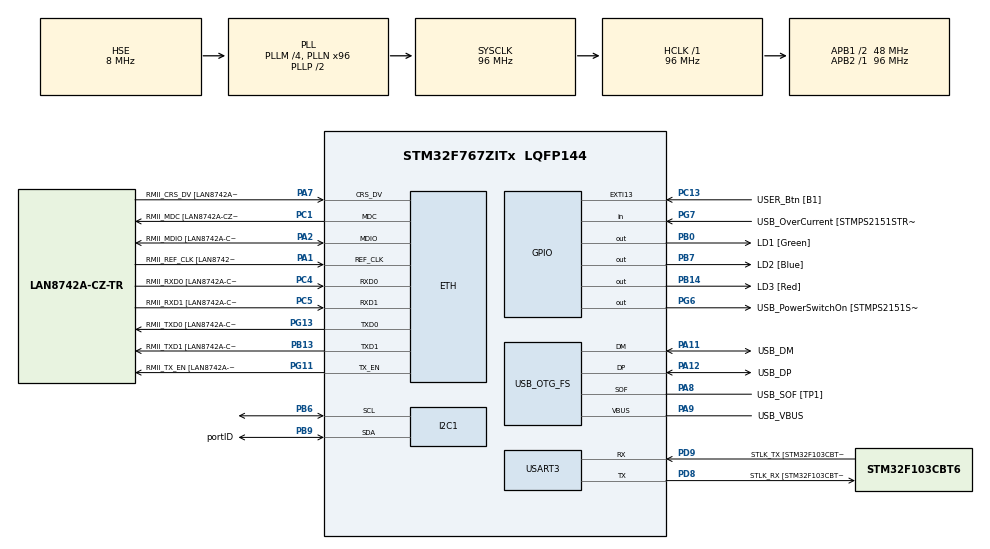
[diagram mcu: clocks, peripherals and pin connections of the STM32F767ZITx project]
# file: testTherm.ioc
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ETH.MediaInterface=HAL_ETH_RMII_MODE
ETH.PHY_Name=LAN8742A_PHY_ADDRESS
ETH.PHY_Value=0
ETH.PhyAddress=0
I2C1.Timing=0x20303E5D
Mcu.Family=STM32F7
Mcu.Name=STM32F767ZITx
Mcu.Package=LQFP144
NVIC.PriorityGroup=NVIC_PRIORITYGROUP_4
PA1.GPIO_Label=RMII_REF_CLK [LAN8742A-CZ-TR_REFCLK0]
PA1.Mode=RMII
PA1.Signal=ETH_REF_CLK
PA10.GPIO_Label=USB_ID
PA10.Signal=USB_OTG_FS_ID
PA11.GPIO_Label=USB_DM
PA11.Mode=Device_Only
PA11.Signal=USB_OTG_FS_DM
PA12.GPIO_Label=USB_DP
PA12.Mode=Device_Only
PA12.Signal=USB_OTG_FS_DP
PA13.GPIO_Label=TMS
PA13.Mode=Serial_Wire
PA13.Signal=SYS_JTMS-SWDIO
PA14.GPIO_Label=TCK
PA14.Mode=Serial_Wire
PA14.Signal=SYS_JTCK-SWCLK
PA2.GPIO_Label=RMII_MDIO [LAN8742A-CZ-TR_MDIO]
PA2.Mode=RMII
PA2.Signal=ETH_MDIO
PA7.GPIO_Label=RMII_CRS_DV [LAN8742A-CZ-TR_CRS_DV]
PA7.Mode=RMII
PA7.Signal=ETH_CRS_DV
PA8.GPIO_Label=USB_SOF [TP1]
PA8.Mode=Activate_SOF_FS
PA8.Signal=USB_OTG_FS_SOF
PA9.GPIO_Label=USB_VBUS
PA9.Mode=Activate_VBUS
PA9.Signal=USB_OTG_FS_VBUS
PB0.GPIO_Label=LD1 [Green]
PB0.Signal=GPIO_Output
PB13.GPIO_Label=RMII_TXD1 [LAN8742A-CZ-TR_TXD1]
PB13.Mode=RMII
PB13.Signal=ETH_TXD1
PB14.GPIO_Label=LD3 [Red]
PB14.Signal=GPIO_Output
PB3.GPIO_Label=SWO
PB3.Signal=SYS_JTDO-SWO
PB6.Mode=I2C
PB6.Signal=I2C1_SCL
PB7.GPIO_Label=LD2 [Blue]
PB7.Signal=GPIO_Output
PB9.GPIO_Label=portID
PB9.Mode=I2C
PB9.Signal=I2C1_SDA
PC1.GPIO_Label=RMII_MDC [LAN8742A-CZ-TR_MDC]
PC1.Mode=RMII
PC1.Signal=ETH_MDC
PC13.GPIO_Label=USER_Btn [B1]
PC13.Signal=GPXTI13
PC14/OSC32_IN.Mode=LSE-External-Oscillator
PC14/OSC32_IN.Signal=RCC_OSC32_IN
PC15/OSC32_OUT.Mode=LSE-External-Oscillator
PC15/OSC32_OUT.Signal=RCC_OSC32_OUT
PC4.GPIO_Label=RMII_RXD0 [LAN8742A-CZ-TR_RXD0]
PC4.Mode=RMII
PC4.Signal=ETH_RXD0
PC5.GPIO_Label=RMII_RXD1 [LAN8742A-CZ-TR_RXD1]
PC5.Mode=RMII
PC5.Signal=ETH_RXD1
PD8.GPIO_Label=STLK_RX [STM32F103CBT6_PA3]
PD8.Mode=Asynchronous
PD8.Signal=USART3_TX
PD9.GPIO_Label=STLK_TX [STM32F103CBT6_PA2]
PD9.Mode=Asynchronous
PD9.Signal=USART3_RX
PG11.GPIO_Label=RMII_TX_EN [LAN8742A-CZ-TR_TXEN]
PG11.Mode=RMII
PG11.Signal=ETH_TX_EN
PG13.GPIO_Label=RMII_TXD0 [LAN8742A-CZ-TR_TXD0]
PG13.Mode=RMII
PG13.Signal=ETH_TXD0
PG6.GPIO_Label=USB_PowerSwitchOn [STMPS2151STR_EN]
PG6.Signal=GPIO_Output
PG7.GPIO_Label=USB_OverCurrent [STMPS2151STR_FAULT]
PG7.Signal=GPIO_Input
PH0/OSC_IN.GPIO_Label=MCO [STM32F103CBT6_PA8]
PH0/OSC_IN.Mode=HSE-External-Clock-Source
PH0/OSC_IN.Signal=RCC_OSC_IN
PH1/OSC_OUT.Mode=HSE-External-Clock-Source
PH1/OSC_OUT.Signal=RCC_OSC_OUT
ProjectManager.HeapSize=0x200
ProjectManager.StackSize=0x400
ProjectManager.TargetToolchain=STM32CubeIDE
RCC.48MHZClocksFreq_Value=24000000
RCC.AHBFreq_Value=96000000
RCC.APB1CLKDivider=RCC_HCLK_DIV2
RCC.APB1Freq_Value=48000000
RCC.APB1TimFreq_Value=96000000
RCC.APB2Freq_Value=96000000
RCC.APB2TimFreq_Value=96000000
RCC.CortexFreq_Value=96000000
RCC.HCLKFreq_Value=96000000
RCC.HSE_VALUE=8000000
RCC.HSI_VALUE=16000000
RCC.PLLM=4
RCC.PLLMUL=RCC_PLL_MUL9
RCC.PLLN=96
RCC.PLLQ=4
RCC.PRESCALERUSB=RCC_USBCLKSOURCE_PLL_DIV1_5
RCC.SYSCLKFreq_VALUE=96000000
RCC.SYSCLKSource=RCC_SYSCLKSOURCE_PLLCLK
RCC.SYSCLKSourceVirtual=RCC_SYSCLKSOURCE_PLLCLK
RCC.USBFreq_Value=48000000
RCC.VCOOutputFreq_Value=192000000
USART3.VirtualMode-Asynchronous=VM_ASYNC
USB_OTG_FS.VirtualMode=Device_Only
board=NUCLEO-F767ZI

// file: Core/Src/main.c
/* USER CODE BEGIN Header */
/**
  ******************************************************************************
  * @file           : main.c
  * @brief          : Main program body
  ******************************************************************************
  * @attention
  *
  * Copyright (c) 2023 STMicroelectronics.
  * All rights reserved.
  *
  * This software is licensed under terms that can be found in the LICENSE file
  * in the root directory of this software component.
  * If no LICENSE file comes with this software, it is provided AS-IS.
  *
  ******************************************************************************
  */
/* USER CODE END Header */
#include "main.h"
#include "string.h"

/* USER CODE BEGIN Includes */
//#include "LEPTON_AGC.h"
#include "LEPTON_ErrorCodes.h"
#include "LEPTON_I2C_Protocol.h"
#include "LEPTON_I2C_Reg.h"
#include "LEPTON_I2C_Service.h"
#include "LEPTON_Macros.h"
#include "LEPTON_SDK.h"
#include "LEPTON_SDKConfig.h"
#include "LEPTON_SYS.h"
#include "LEPTON_Types.h"
#include "LEPTON_VID.h"
#include "crc16.h"
#include "aardvark_I2C.h"
#include "aardvark.h"
/* USER CODE END Includes */

#if defined ( __ICCARM__ ) /*!< IAR Compiler */
#pragma location=0x2007c000
ETH_DMADescTypeDef  DMARxDscrTab[ETH_RX_DESC_CNT]; /* Ethernet Rx DMA Descriptors */
#pragma location=0x2007c0a0
ETH_DMADescTypeDef  DMATxDscrTab[ETH_TX_DESC_CNT]; /* Ethernet Tx DMA Descriptors */

#elif defined ( __CC_ARM )  /* MDK ARM Compiler */

__attribute__((at(0x2007c000))) ETH_DMADescTypeDef  DMARxDscrTab[ETH_RX_DESC_CNT]; /* Ethernet Rx DMA Descriptors */
__attribute__((at(0x2007c0a0))) ETH_DMADescTypeDef  DMATxDscrTab[ETH_TX_DESC_CNT]; /* Ethernet Tx DMA Descriptors */

#elif defined ( __GNUC__ ) /* GNU Compiler */
ETH_DMADescTypeDef DMARxDscrTab[ETH_RX_DESC_CNT] __attribute__((section(".RxDecripSection"))); /* Ethernet Rx DMA Descriptors */
ETH_DMADescTypeDef DMATxDscrTab[ETH_TX_DESC_CNT] __attribute__((section(".TxDecripSection")));   /* Ethernet Tx DMA Descriptors */

#endif

ETH_TxPacketConfig TxConfig;

ETH_HandleTypeDef heth;

I2C_HandleTypeDef hi2c1;

UART_HandleTypeDef huart3;

PCD_HandleTypeDef hpcd_USB_OTG_FS;

/* USER CODE BEGIN PV */
LEP_RESULT result;

uint8_t resultData;
/* USER CODE END PV */

void SystemClock_Config(void);
static void MX_GPIO_Init(void);
static void MX_ETH_Init(void);
static void MX_USART3_UART_Init(void);
static void MX_USB_OTG_FS_PCD_Init(void);
static void MX_I2C1_Init(void);

int main(void)
{

  /* MCU Configuration--------------------------------------------------------*/

  /* Reset of all peripherals, Initializes the Flash interface and the Systick. */
  HAL_Init();

  /* Configure the system clock */
  SystemClock_Config();

  /* Initialize all configured peripherals */
  MX_GPIO_Init();
  MX_ETH_Init();
  MX_USART3_UART_Init();
  MX_USB_OTG_FS_PCD_Init();
  MX_I2C1_Init();

  /* Infinite loop */
  while (1)
  {
	  LEP_OpenPort(hi2c1,USART3,400,NULL );
  }
}

void SystemClock_Config(void)
{
  RCC_OscInitTypeDef RCC_OscInitStruct = {0};
  RCC_ClkInitTypeDef RCC_ClkInitStruct = {0};

  /** Configure LSE Drive Capability
  */
  HAL_PWR_EnableBkUpAccess();

  /** Configure the main internal regulator output voltage
  */
  __HAL_RCC_PWR_CLK_ENABLE();
  __HAL_PWR_VOLTAGESCALING_CONFIG(PWR_REGULATOR_VOLTAGE_SCALE3);

  /** Initializes the RCC Oscillators according to the specified parameters
  * in the RCC_OscInitTypeDef structure.
  */
  RCC_OscInitStruct.OscillatorType = RCC_OSCILLATORTYPE_HSE;
  RCC_OscInitStruct.HSEState = RCC_HSE_BYPASS;
  RCC_OscInitStruct.PLL.PLLState = RCC_PLL_ON;
  RCC_OscInitStruct.PLL.PLLSource = RCC_PLLSOURCE_HSE;
  RCC_OscInitStruct.PLL.PLLM = 4;
  RCC_OscInitStruct.PLL.PLLN = 96;
  RCC_OscInitStruct.PLL.PLLP = RCC_PLLP_DIV2;
  RCC_OscInitStruct.PLL.PLLQ = 4;
  RCC_OscInitStruct.PLL.PLLR = 2;
  if (HAL_RCC_OscConfig(&RCC_OscInitStruct) != HAL_OK)
  {
    Error_Handler();
  }

  /** Activate the Over-Drive mode
  */
  if (HAL_PWREx_EnableOverDrive() != HAL_OK)
  {
    Error_Handler();
  }

  /** Initializes the CPU, AHB and APB buses clocks
  */
  RCC_ClkInitStruct.ClockType = RCC_CLOCKTYPE_HCLK|RCC_CLOCKTYPE_SYSCLK
                              |RCC_CLOCKTYPE_PCLK1|RCC_CLOCKTYPE_PCLK2;
  RCC_ClkInitStruct.SYSCLKSource = RCC_SYSCLKSOURCE_PLLCLK;
  RCC_ClkInitStruct.AHBCLKDivider = RCC_SYSCLK_DIV1;
  RCC_ClkInitStruct.APB1CLKDivider = RCC_HCLK_DIV2;
  RCC_ClkInitStruct.APB2CLKDivider = RCC_HCLK_DIV1;

  if (HAL_RCC_ClockConfig(&RCC_ClkInitStruct, FLASH_LATENCY_3) != HAL_OK)
  {
    Error_Handler();
  }
}

static void MX_ETH_Init(void)
{

   static uint8_t MACAddr[6];

  heth.Instance = ETH;
  MACAddr[0] = 0x00;
  MACAddr[1] = 0x80;
  MACAddr[2] = 0xE1;
  MACAddr[3] = 0x00;
  MACAddr[4] = 0x00;
  MACAddr[5] = 0x00;
  heth.Init.MACAddr = &MACAddr[0];
  heth.Init.MediaInterface = HAL_ETH_RMII_MODE;
  heth.Init.TxDesc = DMATxDscrTab;
  heth.Init.RxDesc = DMARxDscrTab;
  heth.Init.RxBuffLen = 1524;

  if (HAL_ETH_Init(&heth) != HAL_OK)
  {
    Error_Handler();
  }

  memset(&TxConfig, 0 , sizeof(ETH_TxPacketConfig));
  TxConfig.Attributes = ETH_TX_PACKETS_FEATURES_CSUM | ETH_TX_PACKETS_FEATURES_CRCPAD;
  TxConfig.ChecksumCtrl = ETH_CHECKSUM_IPHDR_PAYLOAD_INSERT_PHDR_CALC;
  TxConfig.CRCPadCtrl = ETH_CRC_PAD_INSERT;

}

static void MX_I2C1_Init(void)
{

  hi2c1.Instance = I2C1;
  hi2c1.Init.Timing = 0x20303E5D;
  hi2c1.Init.OwnAddress1 = 0;
  hi2c1.Init.AddressingMode = I2C_ADDRESSINGMODE_7BIT;
  hi2c1.Init.DualAddressMode = I2C_DUALADDRESS_DISABLE;
  hi2c1.Init.OwnAddress2 = 0;
  hi2c1.Init.OwnAddress2Masks = I2C_OA2_NOMASK;
  hi2c1.Init.GeneralCallMode = I2C_GENERALCALL_DISABLE;
  hi2c1.Init.NoStretchMode = I2C_NOSTRETCH_DISABLE;
  if (HAL_I2C_Init(&hi2c1) != HAL_OK)
  {
    Error_Handler();
  }

  /** Configure Analogue filter
  */
  if (HAL_I2CEx_ConfigAnalogFilter(&hi2c1, I2C_ANALOGFILTER_ENABLE) != HAL_OK)
  {
    Error_Handler();
  }

  /** Configure Digital filter
  */
  if (HAL_I2CEx_ConfigDigitalFilter(&hi2c1, 0) != HAL_OK)
  {
    Error_Handler();
  }

}

static void MX_USART3_UART_Init(void)
{

  huart3.Instance = USART3;
  huart3.Init.BaudRate = 115200;
  huart3.Init.WordLength = UART_WORDLENGTH_8B;
  huart3.Init.StopBits = UART_STOPBITS_1;
  huart3.Init.Parity = UART_PARITY_NONE;
  huart3.Init.Mode = UART_MODE_TX_RX;
  huart3.Init.HwFlowCtl = UART_HWCONTROL_NONE;
  huart3.Init.OverSampling = UART_OVERSAMPLING_16;
  huart3.Init.OneBitSampling = UART_ONE_BIT_SAMPLE_DISABLE;
  huart3.AdvancedInit.AdvFeatureInit = UART_ADVFEATURE_NO_INIT;
  if (HAL_UART_Init(&huart3) != HAL_OK)
  {
    Error_Handler();
  }

}

static void MX_USB_OTG_FS_PCD_Init(void)
{

  hpcd_USB_OTG_FS.Instance = USB_OTG_FS;
  hpcd_USB_OTG_FS.Init.dev_endpoints = 6;
  hpcd_USB_OTG_FS.Init.speed = PCD_SPEED_FULL;
  hpcd_USB_OTG_FS.Init.dma_enable = DISABLE;
  hpcd_USB_OTG_FS.Init.phy_itface = PCD_PHY_EMBEDDED;
  hpcd_USB_OTG_FS.Init.Sof_enable = ENABLE;
  hpcd_USB_OTG_FS.Init.low_power_enable = DISABLE;
  hpcd_USB_OTG_FS.Init.lpm_enable = DISABLE;
  hpcd_USB_OTG_FS.Init.vbus_sensing_enable = ENABLE;
  hpcd_USB_OTG_FS.Init.use_dedicated_ep1 = DISABLE;
  if (HAL_PCD_Init(&hpcd_USB_OTG_FS) != HAL_OK)
  {
    Error_Handler();
  }

}

static void MX_GPIO_Init(void)
{
  GPIO_InitTypeDef GPIO_InitStruct = {0};

  /* GPIO Ports Clock Enable */
  __HAL_RCC_GPIOC_CLK_ENABLE();
  __HAL_RCC_GPIOH_CLK_ENABLE();
  __HAL_RCC_GPIOA_CLK_ENABLE();
  __HAL_RCC_GPIOB_CLK_ENABLE();
  __HAL_RCC_GPIOD_CLK_ENABLE();
  __HAL_RCC_GPIOG_CLK_ENABLE();

  /*Configure GPIO pin Output Level */
  HAL_GPIO_WritePin(GPIOB, LD1_Pin|LD3_Pin|LD2_Pin, GPIO_PIN_RESET);

  /*Configure GPIO pin Output Level */
  HAL_GPIO_WritePin(USB_PowerSwitchOn_GPIO_Port, USB_PowerSwitchOn_Pin, GPIO_PIN_RESET);

  /*Configure GPIO pin : USER_Btn_Pin */
  GPIO_InitStruct.Pin = USER_Btn_Pin;
  GPIO_InitStruct.Mode = GPIO_MODE_IT_RISING;
  GPIO_InitStruct.Pull = GPIO_NOPULL;
  HAL_GPIO_Init(USER_Btn_GPIO_Port, &GPIO_InitStruct);

  /*Configure GPIO pins : LD1_Pin LD3_Pin LD2_Pin */
  GPIO_InitStruct.Pin = LD1_Pin|LD3_Pin|LD2_Pin;
  GPIO_InitStruct.Mode = GPIO_MODE_OUTPUT_PP;
  GPIO_InitStruct.Pull = GPIO_NOPULL;
  GPIO_InitStruct.Speed = GPIO_SPEED_FREQ_LOW;
  HAL_GPIO_Init(GPIOB, &GPIO_InitStruct);

  /*Configure GPIO pin : USB_PowerSwitchOn_Pin */
  GPIO_InitStruct.Pin = USB_PowerSwitchOn_Pin;
  GPIO_InitStruct.Mode = GPIO_MODE_OUTPUT_PP;
  GPIO_InitStruct.Pull = GPIO_NOPULL;
  GPIO_InitStruct.Speed = GPIO_SPEED_FREQ_LOW;
  HAL_GPIO_Init(USB_PowerSwitchOn_GPIO_Port, &GPIO_InitStruct);

  /*Configure GPIO pin : USB_OverCurrent_Pin */
  GPIO_InitStruct.Pin = USB_OverCurrent_Pin;
  GPIO_InitStruct.Mode = GPIO_MODE_INPUT;
  GPIO_InitStruct.Pull = GPIO_NOPULL;
  HAL_GPIO_Init(USB_OverCurrent_GPIO_Port, &GPIO_InitStruct);

}

void Error_Handler(void)
{
  __disable_irq();
  while (1)
  {
  }
}
